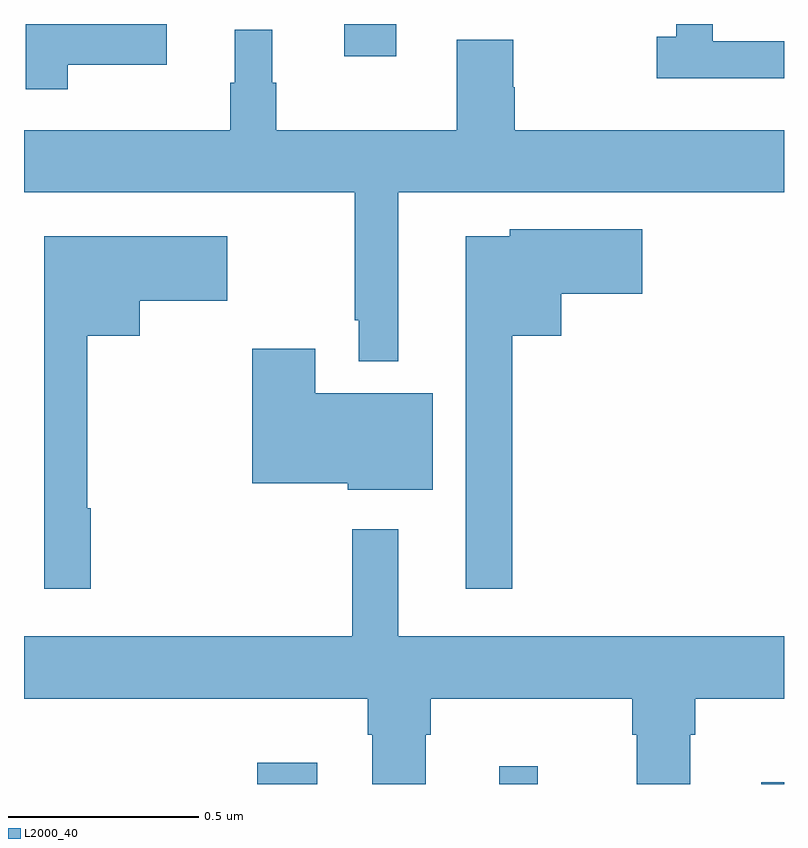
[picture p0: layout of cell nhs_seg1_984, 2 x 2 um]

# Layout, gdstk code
import gdstk
lib = gdstk.Library(unit=1e-6, precision=1e-09)
def R(c, l, rs):  # rectangles x0, y0, x1, y1
    for r in rs: c.add(gdstk.rectangle(r[:2], r[2:], *l))
def P(c, l, *ps):  # polygons
    for p in ps: c.add(gdstk.Polygon(p, *l))
L2000_40 = (2000, 40)

nhs_seg1_984 = lib.new_cell('nhs_seg1_984')
R(nhs_seg1_984, L2000_40, [(123.614,526.199,123.772,526.255), (124.25,526.199,124.352,526.246), (124.94,526.199,125,526.204), (123.843,528.114,123.979,528.199)])
P(nhs_seg1_984, L2000_40, [(125,528.153),(124.813,528.153),(124.813,528.199),(124.716,528.199),(124.716,528.166),(124.665,528.166),(124.665,528.056),(125,528.056)],
  [(123.115,528.092),(123.376,528.092),(123.376,528.199),(123.005,528.199),(123.005,528.027),(123.115,528.027)],
  [(123.985,527.756),(125,527.756),(125,527.92),(124.292,527.92),(124.292,528.033),(124.287,528.033),(124.287,528.158),(124.139,528.158),(124.139,527.92),(123.664,527.92),(123.664,528.044),(123.653,528.044),(123.653,528.184),(123.554,528.184),(123.554,528.044),(123.543,528.044),(123.543,527.92),(123,527.92),(123,527.756),(123.871,527.756),(123.871,527.419),(123.881,527.419),(123.881,527.312),(123.985,527.312)],
  [(124.285,527.378),(124.414,527.378),(124.414,527.489),(124.627,527.489),(124.627,527.659),(124.278,527.659),(124.278,527.641),(124.163,527.641),(124.163,526.713),(124.285,526.713)],
  [(123.175,526.925),(123.167,526.925),(123.167,527.378),(123.304,527.378),(123.304,527.471),(123.535,527.471),(123.535,527.641),(123.053,527.641),(123.053,526.713),(123.175,526.713)],
  [(124.075,527.227),(123.766,527.227),(123.766,527.344),(123.601,527.344),(123.601,526.991),(123.852,526.991),(123.852,526.973),(124.075,526.973)],
  [(124.057,526.328),(124.07,526.328),(124.07,526.424),(124.601,526.424),(124.601,526.328),(124.613,526.328),(124.613,526.199),(124.753,526.199),(124.753,526.328),(124.766,526.328),(124.766,526.424),(125,526.424),(125,526.588),(123.985,526.588),(123.985,526.87),(123.864,526.87),(123.864,526.588),(123,526.588),(123,526.424),(123.905,526.424),(123.905,526.328),(123.917,526.328),(123.917,526.199),(124.057,526.199)])

lib.write_gds('nhs_seg1_984.gds')
